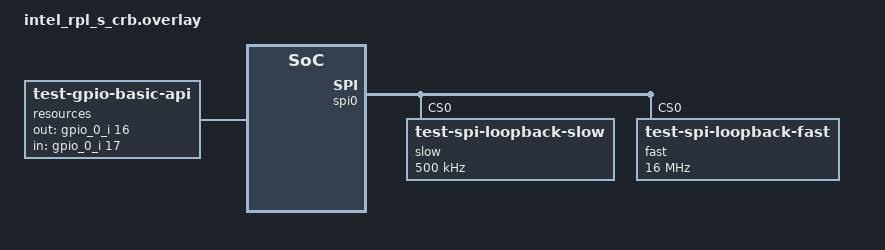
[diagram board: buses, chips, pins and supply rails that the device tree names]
/*
 * Copyright (c) 2023 Intel Corporation
 *
 * SPDX-License-Identifier: Apache-2.0
 */

/* External Loopback: Short MOSI (J7H4.3) & MISO (J7H4.5) */

&spi0 {
	pw,cs-mode = <0>;
	pw,cs-output = <0>;
	status = "okay";

	slow@0 {
		compatible = "test-spi-loopback-slow";
		reg = <0>;
		spi-max-frequency = <500000>;
	};

	fast@0 {
		compatible = "test-spi-loopback-fast";
		reg = <0>;
		spi-max-frequency = <16000000>;
	};
};

/ {
	resources {
		compatible = "test-gpio-basic-api";
		out-gpios = <&gpio_0_i 16 0>;
		in-gpios = <&gpio_0_i 17 0>;
	};
};
